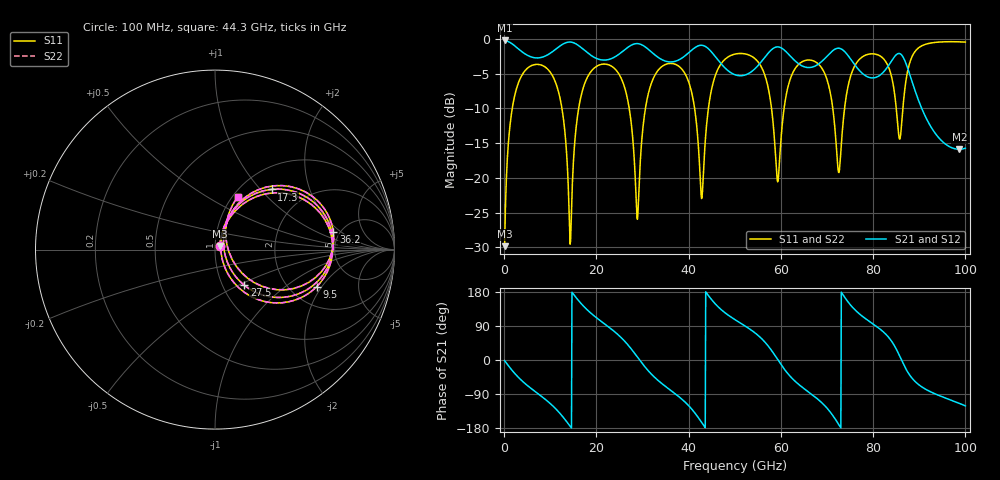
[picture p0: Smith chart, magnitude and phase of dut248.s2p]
! Touchstone file exported from HFSS 2026.1.0
!  File:  C:/ffzhzh/LocalFiles/Ansys_Project_Files/temp_train_TSV_RDL_248_1783686552_27876.aedt
!  Generated:  08:42:11 PM Jul 10, 2026
!  Design:  TSV_RDL
!  Project:  temp_train_TSV_RDL_248_1783686552_27876
! Variables:
!  h_bsmrdl = 4.63um
!  h_ox = 20um
!  h_rdl = 5um
!  h_sub = 94.01um
!  h_tmrdl = 3.58um
!  h_tsv = 94.01um
!  h_via = 3um
!  l_bsmrdl = 385.84um
!  l_sub = 3918.9um
!  l_tmrdl = 571.25um
!  m_sub = 200um
!  pitch = 57.13um
!  r_tsv = 8.25um
!  s_tmrdl = 10um
!  w_bsmrdl = 11.88um
!  w_sub = 500um
!  w_tmrdl = 13.58um
!  x_tsv_center1 = 578.04um
!  x_tsv_center2 = 975.76um
!  x_tsv_center3 = 1560.59um
!  x_tsv_center4 = 1958.31um
!  x_tsv_center5 = 2543.14um
!  x_tsv_center6 = 2940.86um
# GHz S MA R 50.000000
! Terminal data exported
! Port[1] = TM_RDL1_1_T1
! Port[2] = TM_RDL5_1_T1
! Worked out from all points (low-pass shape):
!   1000 points, 100 MHz to 100 GHz, reference 50 ohm
!   highest |S21| = -0.22 dB at 100 MHz (marker M1); lowest = -15.9 dB at 98.7 GHz (marker M2)
!   |S21| within 3 dB of the highest: start of sweep to 35.1 GHz; 37.07 GHz to 46.59 GHz (9.514 GHz wide, 22.7 % of centre) (the widest 2 of 5)
!   lowest |S11| = -29.8 dB at 100 MHz (marker M3), VSWR 1.07, Z = 52.6 + j2.05 ohm
!   |S11| at or under -10 dB: 12.53 GHz to 16.15 GHz (3.625 GHz wide, 25.3 % of centre); 27.12 GHz to 30.63 GHz (3.514 GHz wide, 12.2 % of centre); 41.29 GHz to 44.28 GHz (2.994 GHz wide, 7 % of centre) (the widest 3 of 7)
!   |S22| runs from -29.8 to -0.4 dB; largest |S21 - S12| = 3.1e-13
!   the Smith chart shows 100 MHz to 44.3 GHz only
!   S11 on the Smith chart (normalised r, x): 100 MHz: 1.05, +0.04; 9.5 GHz: 2.76, -1.79; 17.3 GHz: 1.36, +1.16; 27.5 GHz: 1.26, -0.54; 36.2 GHz: 4.42, +1.56; 44.3 GHz: 1.06, +0.69
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0.1  0.03229 37.1  0.9746 -1.7  0.9746 -1.7  0.03229 37.1
! Gamma 0 0 0 0
! Port Impedance 50 0 50 0
2.7  0.4412 45.5  0.869 -40.9  0.869 -40.9  0.4412 45.5
9.5  0.603 -20.0  0.7704 -109.7  0.7704 -109.7  0.603 -20.0
14.3  0.03338 -7.6  0.9497 -174.7  0.9497 -174.7  0.03276 -7.9
16.8  0.4037 52.4  0.861 147.4  0.861 147.4  0.4036 52.5
17.3  0.4607 46.7  0.8341 140.9  0.8341 140.9  0.4606 46.8
27.5  0.2564 -50.6  0.899 30.1  0.899 30.1  0.2563 -50.6
28.9  0.05042 11.8  0.9249 7.6  0.9249 7.6  0.05006 11.9
33.4  0.5959 32.7  0.7359 -54.2  0.7359 -54.2  0.5958 32.8
36.2  0.6663 8.5  0.6828 -80.9  0.6828 -80.9  0.6662 8.6
42.8  0.07105 9.2  0.9005 -164.3  0.9005 -164.3  0.07197 9.4
44.3  0.3193 66.7  0.8489 169.8  0.8489 169.8  0.3196 66.6
50.1  0.7784 14.6  0.5516 106.0  0.5516 106.0  0.7784 14.7
59.3  0.09377 0.4  0.8765 1.3  0.8765 1.3  0.09328 0.6
66.7  0.7009 -0.6  0.6257 -90.9  0.6257 -90.9  0.701 -0.4
73  0.1556 45.8  0.8495 -179.1  0.8495 -179.1  0.1557 45.8
76.2  0.6563 34.4  0.6389 130.7  0.6389 130.7  0.6562 34.6
83.4  0.6199 -22.1  0.6482 59.2  0.6482 59.2  0.6199 -21.8
85.8  0.1903 11.1  0.7833 9.0  0.7833 9.0  0.1917 11.3
88  0.6848 35.1  0.5466 -41.2  0.5466 -41.2  0.6852 35.1
98.7  0.9528 -25.8  0.1607 -114.4  0.1607 -114.4  0.9526 -25.7
100  0.9486 -31.2  0.1636 -121.2  0.1636 -121.2  0.9485 -31.1
